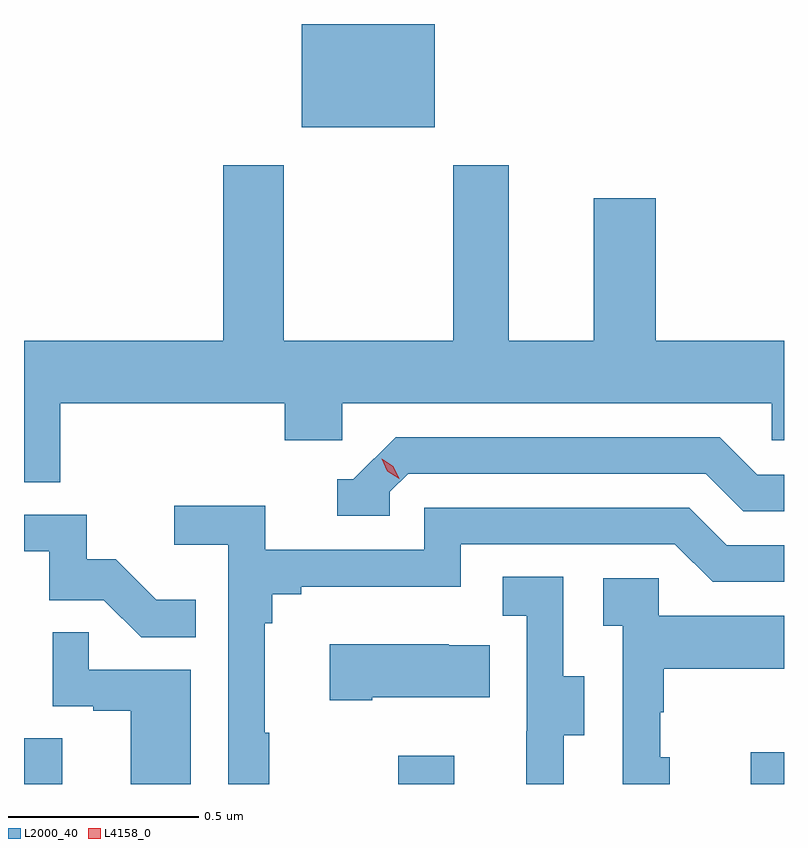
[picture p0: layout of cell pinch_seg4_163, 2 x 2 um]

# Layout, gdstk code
import gdstk
lib = gdstk.Library(unit=1e-6, precision=1e-09)
def R(c, l, rs):  # rectangles x0, y0, x1, y1
    for r in rs: c.add(gdstk.rectangle(r[:2], r[2:], *l))
def P(c, l, *ps):  # polygons
    for p in ps: c.add(gdstk.Polygon(p, *l))
L2000_40 = (2000, 40)
L4158_0 = (4158, 0)

pinch_seg4_163 = lib.new_cell('pinch_seg4_163')
R(pinch_seg4_163, L2000_40, [(1122.549,795.818,1122.649,795.938), (1123.534,795.818,1123.681,795.892), (1124.462,795.818,1124.549,795.901), (1123.28,797.546,1123.63,797.818)])
P(pinch_seg4_163, L2000_40, [(1122.644,796.82),(1123.235,796.82),(1123.235,796.722),(1123.386,796.722),(1123.386,796.82),(1124.517,796.82),(1124.517,796.722),(1124.549,796.722),(1124.549,796.984),(1124.212,796.984),(1124.212,797.359),(1124.048,797.359),(1124.048,796.984),(1123.825,796.984),(1123.825,797.446),(1123.678,797.446),(1123.678,796.984),(1123.233,796.984),(1123.233,797.446),(1123.073,797.446),(1123.073,796.984),(1122.549,796.984),(1122.549,796.612),(1122.644,796.612)],
  [(1123.512,796.587),(1123.56,796.635),(1124.343,796.635),(1124.442,796.536),(1124.549,796.536),(1124.549,796.632),(1124.479,796.632),(1124.38,796.731),(1123.527,796.731),(1123.416,796.62),(1123.373,796.62),(1123.373,796.524),(1123.512,796.524)],
  [(1123.195,795.953),(1123.183,795.953),(1123.183,796.241),(1123.202,796.241),(1123.202,796.318),(1123.279,796.318),(1123.279,796.337),(1123.698,796.337),(1123.698,796.449),(1124.262,796.449),(1124.361,796.35),(1124.549,796.35),(1124.549,796.446),(1124.398,796.446),(1124.299,796.545),(1123.602,796.545),(1123.602,796.434),(1123.184,796.434),(1123.184,796.55),(1122.945,796.55),(1122.945,796.448),(1123.086,796.448),(1123.086,795.818),(1123.195,795.818)],
  [(1123.001,796.303),(1122.897,796.303),(1122.79,796.41),(1122.714,796.41),(1122.714,796.527),(1122.549,796.527),(1122.549,796.431),(1122.615,796.431),(1122.615,796.302),(1122.759,796.302),(1122.857,796.204),(1123.001,796.204)],
  [(1123.969,795.946),(1124.023,795.946),(1124.023,796.101),(1123.968,796.101),(1123.968,796.364),(1123.809,796.364),(1123.809,796.261),(1123.872,796.261),(1123.872,795.957),(1123.871,795.957),(1123.871,795.818),(1123.969,795.818)],
  [(1124.248,795.888),(1124.223,795.888),(1124.223,796.007),(1124.233,796.007),(1124.233,796.121),(1124.549,796.121),(1124.549,796.261),(1124.22,796.261),(1124.22,796.359),(1124.073,796.359),(1124.073,796.235),(1124.124,796.235),(1124.124,795.818),(1124.248,795.818)],
  [(1122.988,796.119),(1122.719,796.119),(1122.719,796.217),(1122.624,796.217),(1122.624,796.023),(1122.731,796.023),(1122.731,796.011),(1122.83,796.011),(1122.83,795.818),(1122.988,795.818)],
  [(1123.465,796.046),(1123.775,796.046),(1123.775,796.183),(1123.667,796.183),(1123.667,796.186),(1123.353,796.186),(1123.353,796.039),(1123.465,796.039)])
P(pinch_seg4_163, L4158_0, [(1123.536,796.621),(1123.505,796.641),(1123.49,796.674),(1123.49,796.674),(1123.49,796.674),(1123.521,796.654),(1123.536,796.621),(1123.536,796.621)])

lib.write_gds('pinch_seg4_163.gds')
